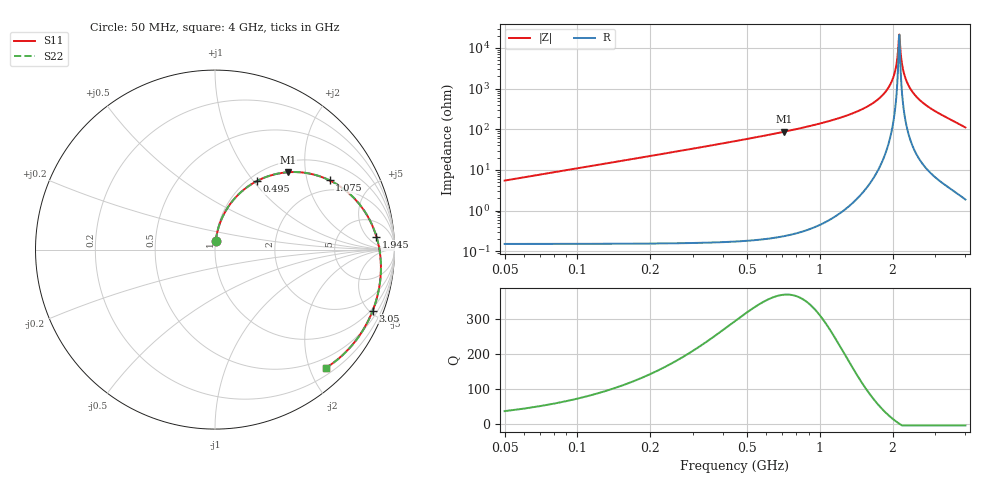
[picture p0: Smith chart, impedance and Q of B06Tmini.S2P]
! Coilcraft B06T_ Mini Spring Air Core Inductor
! 30 May 2003
# MHZ S MA R 50
!Freq  MagS11  AngS11  MagS21  AngS21  MagS12  AngS12  MagS22  AngS22
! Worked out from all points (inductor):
!   791 points, 50 MHz to 4 GHz, reference 50 ohm
!   read as 1/Y11, port 2 shorted: L = 17.4 nH near 65 MHz
!   highest Q = 372 at 715 MHz (marker M1), where L = 19.4 nH
!   self-resonance near 2.13 GHz
!   S11 on the Smith chart (normalised r, x): 50 MHz: 1.00, +0.10; 495 MHz: 1.09, +1.05; 1.075 GHz: 1.59, +2.76; 1.945 GHz: 12, +9; 3.05 GHz: 0.87, -5.23; 4 GHz: 0.32, -2.27
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50  0.05044 84.9  0.9972 -3.4  0.9972 -3.4  0.05046 84.9
90  0.09052 83.0  0.9944 -6.0  0.9944 -6.0  0.09056 83.0
115  0.1154 81.5  0.9918 -7.7  0.9918 -7.7  0.1154 81.5
155  0.1547 79.1  0.9865 -10.4  0.9865 -10.4  0.1548 79.1
205  0.2029 75.9  0.9777 -13.6  0.9777 -13.6  0.203 75.9
265  0.259 72.2  0.9644 -17.5  0.9644 -17.5  0.2591 72.2
330  0.317 68.1  0.947 -21.6  0.947 -21.6  0.3172 68.1
495  0.4497 58.4  0.8917 -31.4  0.8917 -31.4  0.4499 58.4
710  0.5884 47.0  0.807 -42.8  0.807 -42.8  0.5887 47.0
715  0.5911 46.8  0.805 -43.1  0.805 -43.1  0.5914 46.8
880  0.6725 39.1  0.7384 -50.7  0.7384 -50.7  0.6728 39.1
1075  0.7461 31.1  0.6636 -58.7  0.6636 -58.7  0.7464 31.1
1370  0.8231 20.8  0.5644 -69.0  0.5644 -69.0  0.8235 20.8
1645  0.8696 12.5  0.4884 -77.2  0.4884 -77.2  0.87 12.5
1945  0.9024 4.5  0.4224 -85.0  0.4224 -85.0  0.9028 4.5
2025  0.9089 2.5  0.4076 -86.9  0.4076 -86.9  0.9093 2.5
2345  0.9278 -5.1  0.3588 -94.2  0.3588 -94.2  0.9283 -5.1
2685  0.9386 -12.8  0.3248 -101.6  0.3248 -101.6  0.9391 -12.8
3050  0.9421 -21.1  0.3086 -109.5  0.3086 -109.5  0.9425 -21.1
3345  0.9391 -28.2  0.3127 -116.3  0.3127 -116.3  0.9395 -28.2
3685  0.9273 -37.1  0.3405 -125.1  0.3405 -125.1  0.9277 -37.1
4000  0.9035 -46.8  0.3946 -134.7  0.3946 -134.7  0.9038 -46.8
